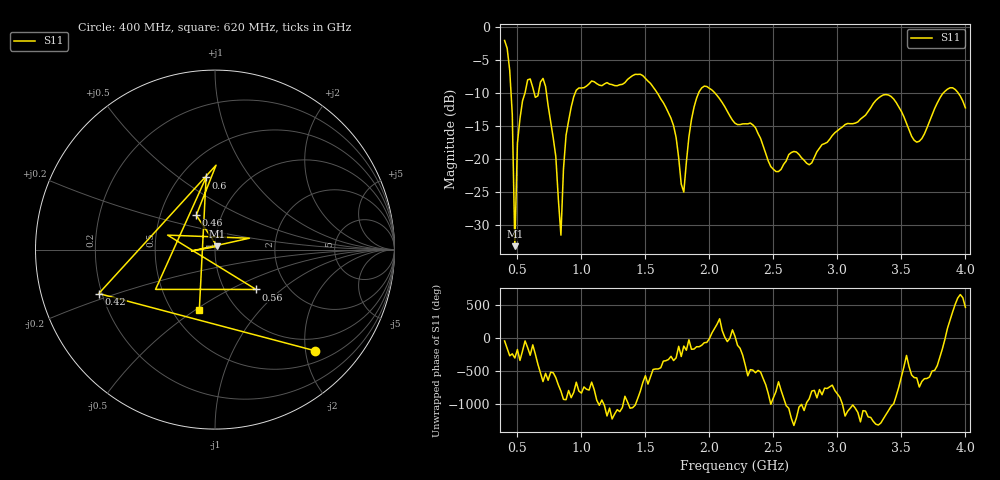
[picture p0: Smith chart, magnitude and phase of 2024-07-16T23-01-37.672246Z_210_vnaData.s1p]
!Created with skrf (http://scikit-rf.org).
# Hz S RI R 50.0
!freq ReS11 ImS11
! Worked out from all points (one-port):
!   181 points, 400 MHz to 4 GHz, reference 50 ohm
!   lowest |S11| = -33.3 dB at 480 MHz (marker M1), VSWR 1.04, Z = 51.2 + j1.83 ohm
!   |S11| at or under -10 dB: 726.9 MHz to 951.1 MHz (224.2 MHz wide, 26.7 % of centre); 1.593 GHz to 1.915 GHz (322 MHz wide, 18.4 % of centre); 2.044 GHz to 3.827 GHz (1.783 GHz wide, 60.7 % of centre) (the widest 3 of 6)
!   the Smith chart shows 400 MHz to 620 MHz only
!   S11 on the Smith chart (normalised r, x): 400 MHz: 0.72, -2.20; 420 MHz: 0.19, -0.18; 460 MHz: 0.76, +0.30; 560 MHz: 1.39, -0.69; 600 MHz: 0.66, +0.64; 620 MHz: 0.68, -0.52
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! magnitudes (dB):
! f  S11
! 400 MHz  -2.0
! 420 MHz  -3.2
! 460 MHz  -13.2
! 480 MHz  -33.3
! 500 MHz  -17.6
! 560 MHz  -9.9
! 600 MHz  -7.8
! 620 MHz  -9.2
! 720 MHz  -9.0
! 800 MHz  -19.6
! 840 MHz  -31.6
! 860 MHz  -21.5
! 960 MHz  -9.6
! 1.3 GHz  -8.7
! 1.54 GHz  -8.5
! 1.76 GHz  -19.8
! 1.8 GHz  -25.0
! 1.86 GHz  -14.0
! 1.96 GHz  -8.9
! 2.2 GHz  -14.6
! 2.52 GHz  -21.9
! 2.66 GHz  -18.9
! 3.1 GHz  -14.6
! 3.38 GHz  -10.2
! 3.56 GHz  -15.6
! 3.64 GHz  -17.3
! 3.88 GHz  -9.2
! 4 GHz  -12.2
